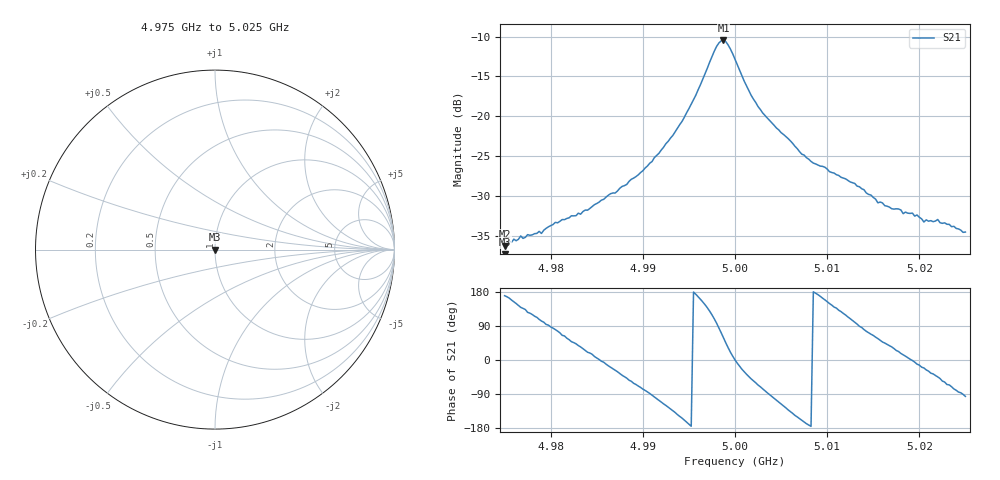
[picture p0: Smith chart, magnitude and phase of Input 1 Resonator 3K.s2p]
!Agilent Technologies,N5230A,MY45001652,A.07.50.57
!Agilent N5230A: A.07.50.57
!Date: Monday, September 28, 2015 13:34:15
!Correction: S11(Off)
!S21(Off)
!S12(Off)
!S22(Off)
!S2P File: Measurements: S11, S21, S12, S22:
# Hz S  dB  R 50
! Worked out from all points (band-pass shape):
!   201 points, 4.975 GHz to 5.025 GHz, reference 50 ohm
!   highest |S21| = -10.50 dB at 4.99875 GHz (marker M1); lowest = -36.3 dB at 4.975 GHz (marker M2)
!   |S21| within 3 dB of the highest: 4.997157 GHz to 5.000234 GHz (3.077 MHz wide, 0.0615 % of centre)
!   lowest |S11| = - dB at 4.975 GHz (marker M3), VSWR 1.00, Z = 50 + j7.07e-09 ohm
!   |S11| at or under -10 dB: start of sweep to end of sweep
!   S12 and S22 are empty: the file has one direction only
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4.975e9  -200.00 45.0  -36.29 169.7  -200.00 45.0  -200.00 45.0
4.9835e9  -200.00 45.0  -31.95 30.0  -200.00 45.0  -200.00 45.0
4.98825e9  -200.00 45.0  -28.56 -47.8  -200.00 45.0  -200.00 45.0
4.99175e9  -200.00 45.0  -24.64 -106.4  -200.00 45.0  -200.00 45.0
4.995e9  -200.00 45.0  -19.04 -169.1  -200.00 45.0  -200.00 45.0
4.996e9  -200.00 45.0  -16.68 167.0  -200.00 45.0  -200.00 45.0
4.997e9  -200.00 45.0  -13.96 137.9  -200.00 45.0  -200.00 45.0
4.9975e9  -200.00 45.0  -12.53 119.2  -200.00 45.0  -200.00 45.0
4.998e9  -200.00 45.0  -11.25 97.3  -200.00 45.0  -200.00 45.0
4.99875e9  -200.00 45.0  -10.50 58.5  -200.00 45.0  -200.00 45.0
4.99925e9  -200.00 45.0  -11.05 32.7  -200.00 45.0  -200.00 45.0
5e9  -200.00 45.0  -12.85 0.2  -200.00 45.0  -200.00 45.0
5.00125e9  -200.00 45.0  -16.18 -37.6  -200.00 45.0  -200.00 45.0
5.00375e9  -200.00 45.0  -20.52 -91.3  -200.00 45.0  -200.00 45.0
5.00575e9  -200.00 45.0  -22.78 -131.3  -200.00 45.0  -200.00 45.0
5.0085e9  -200.00 45.0  -25.87 179.9  -200.00 45.0  -200.00 45.0
5.01225e9  -200.00 45.0  -28.04 113.6  -200.00 45.0  -200.00 45.0
5.01675e9  -200.00 45.0  -31.39 37.9  -200.00 45.0  -200.00 45.0
5.01975e9  -200.00 45.0  -32.38 -10.9  -200.00 45.0  -200.00 45.0
5.0205e9  -200.00 45.0  -33.26 -21.0  -200.00 45.0  -200.00 45.0
5.022e9  -200.00 45.0  -32.95 -44.6  -200.00 45.0  -200.00 45.0
5.025e9  -200.00 45.0  -34.52 -96.1  -200.00 45.0  -200.00 45.0
